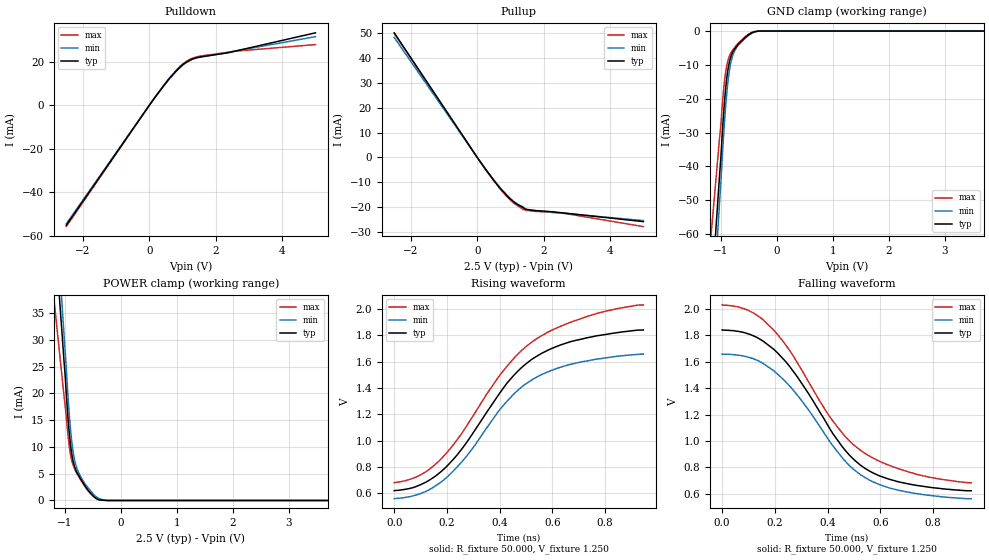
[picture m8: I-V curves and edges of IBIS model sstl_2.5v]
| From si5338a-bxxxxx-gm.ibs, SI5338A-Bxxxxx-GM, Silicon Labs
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[Model]   sstl_2.5v
Model_type 3-state
Vref=1.250E+00
Rref=5.000E+01
Cref=0.000E+00
Vmeas=1.250E+00
C_comp   1.110E-12   1.100E-12   1.120E-12
[Voltage Range]   2.500E+00   2.250E+00   2.750E+00
[POWER Clamp Reference]   2.500E+00   2.250E+00   2.750E+00
[GND Clamp Reference]   0.000E+00   0.000E+00   0.000E+00
[Pullup Reference]   2.500E+00   2.250E+00   2.750E+00
[Pulldown Reference]   0.000E+00   0.000E+00   0.000E+00
[Temperature Range]   25   85   -40
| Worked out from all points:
|   slope of the pulldown table from 0 to 0.375 V, typ, clamps not added: 47.9 ohm
|   slope of the pullup table from 0 to 0.375 V, typ, clamps not added: 53.6 ohm
|   GND clamp passes 1 mA (typ) near -0.49 V on its own axis
|   POWER clamp passes 1 mA (typ) near -0.51 V on its own axis
|   rising waveform, R_fixture 50.000, V_fixture 1.250: 20-80 % time 281ps typ, 275ps min, 313ps max; typ from 0.621 V to 1.84 V
|   falling waveform, R_fixture 50.000, V_fixture 1.250: 20-80 % time 253ps typ, 255ps min, 281ps max; typ from 1.84 V to 0.621 V
[GND Clamp]
-2.5V     -403.9mA   -444.6mA   -310.4mA
-1.02V    -41.86mA   -49.79mA   -31.02mA
-1V       -37.48mA   -44.84mA   -27.85mA
-960mV    -26.63mA   -33.37mA   -19.06mA
-920mV    -17.97mA   -23.54mA   -12.78mA
-880mV    -12.09mA   -16.03mA   -9.078mA
-840mV    -8.594mA   -10.93mA   -7.109mA
-780mV    -5.975mA   -6.86mA    -5.469mA
-720mV    -4.541mA   -4.918mA   -4.176mA
-460mV    -649.2uA   -795.3uA   -490.5uA
-320mV    0A         0A         0A
5V        0A         0A         0A
[Power Clamp]
-2.5V     241.6mA    266.4mA    168.4mA
-2.46V    235.8mA    259.6mA    164.1mA
-1.02V    26.31mA    31.31mA    19.75mA
-960mV    17.24mA    21.6mA     13.55mA
-920mV    12.12mA    15.5mA     9.778mA
-880mV    8.717mA    11.07mA    7.47mA
-840mV    6.677mA    8.171mA    6.193mA
-800mV    5.512mA    6.401mA    5.306mA
-720mV    4.001mA    4.408mA    3.826mA
-560mV    1.558mA    2.023mA    1.458mA
-400mV    147.1uA    398.8uA    216.8uA
5V        0A         0A         0A
[Pullup]
-2.5V     50.12mA    48.27mA    49.84mA
20mV      -387.5uA   -387.5uA   -400.5uA
340mV     -6.369mA   -6.292mA   -6.536mA
680mV     -12.19mA   -12.08mA   -12.52mA
920mV     -15.76mA   -15.55mA   -16.13mA
1.12V     -18.08mA   -17.93mA   -18.54mA
1.38V     -20.14mA   -19.93mA   -20.92mA
1.46V     -20.83mA   -20.75mA   -21.17mA
1.68V     -21.25mA   -21.3mA    -21.63mA
2.58V     -22.3mA    -22.44mA   -22.4mA
5V        -25.8mA    -25.39mA   -27.8mA
[Pulldown]
-2.5V     -55.05mA   -54.41mA   -55.69mA
160mV     3.451mA    3.394mA    3.506mA
600mV     12.22mA    12.02mA    12.43mA
860mV     16.59mA    16.34mA    16.89mA
1.04V     19.03mA    18.8mA     19.37mA
1.3V      21.26mA    21.15mA    21.61mA
1.56V     22.23mA    22.2mA     22.64mA
2.36V     24.06mA    24.29mA    24.32mA
5V        33.26mA    31.5mA     27.86mA
[Rising Waveform]
R_fixture = 50.000
V_fixture = 1.250
V_fixture_min = 1.125
V_fixture_max = 1.375
|  time   V(typ)   V(min)   V(max)
0s        621mV      560.8mV    681.8mV
102ps     668.3mV    600.7mV    743.1mV
189ps     786mV      704.3mV    886.5mV
273ps     982.6mV    878.8mV    1.107V
403ps     1.37V      1.243V     1.505V
468ps     1.527V     1.382V     1.657V
537ps     1.638V     1.48V      1.771V
672ps     1.755V     1.582V     1.903V
790ps     1.804V     1.626V     1.979V
945ps     1.842V     1.658V     2.032V
[Falling Waveform]
R_fixture = 50.000
V_fixture = 1.250
V_fixture_min = 1.125
V_fixture_max = 1.375
|  time   V(typ)   V(min)   V(max)
0s        1.842V     1.658V     2.032V
112ps     1.803V     1.628V     1.978V
209ps     1.67V      1.509V     1.811V
286ps     1.484V     1.345V     1.591V
412ps     1.08V      983.7mV    1.172V
467ps     927.7mV    845.6mV    1.033V
526ps     813.3mV    741.4mV    926.9mV
597ps     734mV      668.1mV    844.5mV
675ps     686mV      622.5mV    784.8mV
945ps     621mV      560.8mV    681.8mV
[Ramp]
dV/dt_f   6.2558E-01/2.5330E-10   6.1633E-01/2.5524E-10   6.8211E-01/2.8086E-10
dV/dt_r   6.5358E-01/2.8050E-10   5.7933E-01/2.7450E-10   6.4811E-01/3.1280E-10
R_load = 50
